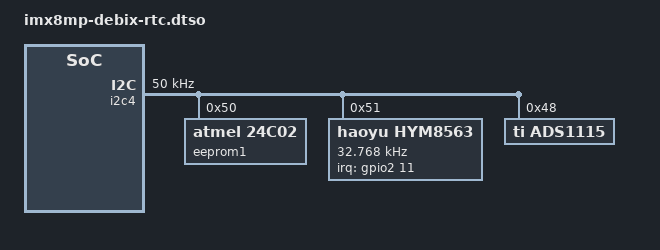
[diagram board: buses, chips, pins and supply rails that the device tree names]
/dts-v1/;
/plugin/;

#include "imx8mp-pinfunc.h"
#include <dt-bindings/interrupt-controller/arm-gic.h>


&i2c4 {
	clock-frequency = <50000>;
	pinctrl-names = "default";
	pinctrl-0 = <&pinctrl_i2c4>;
	status = "okay";
	#address-cells = <1>;
	#size-cells = <0>;
	
	eeprom1: eeprom@50 {
		compatible = "atmel,24c02";
		reg = <0x50>;
		pagesize = <16>;
	};
	
	hym8563: hym8563@51 {
		compatible = "haoyu,hym8563";
		reg = <0x51>;
		#clock-cells = <0>;
		clock-frequency = <32768>;
		clock-output-names = "xin32k";
		init_date="2022/04/12";
		interrupt-parent = <&gpio2>;
		interrupts = <11 IRQ_TYPE_EDGE_FALLING>;
		
		pinctrl-names = "default";
		pinctrl-0 = <&pinctrl_rtc_int>;
	};
	ads1115: ads1115@48 {
		 compatible = "ti,ads1115";
		 status = "okay";
		 #address-cells = <1>;
		 #size-cells = <0>;
		 reg = <0x48>;

		 channel@4 {
			 reg = <4>;
			 ti,gain = <1>;
			 ti,datarate = <4>;
		 };
		 channel@5 {
			 reg = <5>;
			 ti,gain = <1>;
			 ti,datarate = <4>;
		 };
		 channel@3 {
			 reg = <3>;
			 ti,gain = <1>;
			 ti,datarate = <4>;
		 };
		 channel@6 {
			 reg = <6>;
			 ti,gain = <1>;
			 ti,datarate = <4>;
		 };

		 channel@7 {
			 reg = <7>;
			 ti,gain = <1>;
			 ti,datarate = <4>;
		 };
	 };

};

&iomuxc {
	pinctrl_i2c4: i2c4grp {
		fsl,pins = <
			MX8MP_IOMUXC_I2C4_SCL__I2C4_SCL		0x400001c3
			MX8MP_IOMUXC_I2C4_SDA__I2C4_SDA		0x400001c3
		>;
	};
};

